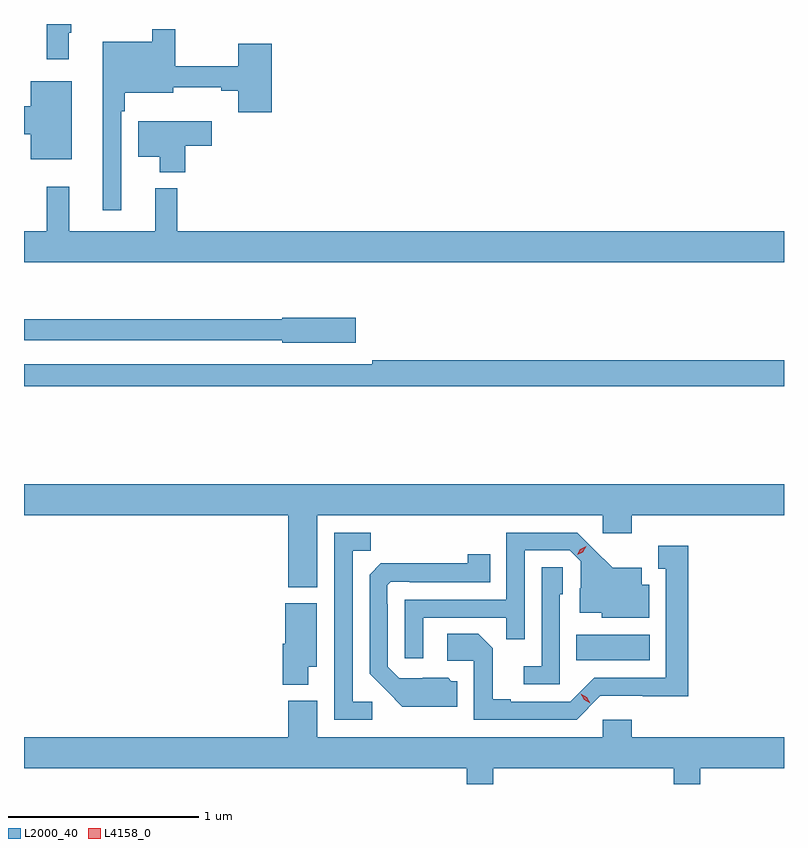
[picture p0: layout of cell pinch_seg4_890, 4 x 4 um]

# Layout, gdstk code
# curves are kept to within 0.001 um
import gdstk
lib = gdstk.Library(unit=1e-6, precision=1e-09)
def R(c, l, rs):  # rectangles x0, y0, x1, y1
    for r in rs: c.add(gdstk.rectangle(r[:2], r[2:], *l))
def P(c, l, *ps):  # polygons
    for p in ps: c.add(gdstk.Polygon(p, *l))
L2000_40 = (2000, 40)
L4158_0 = (4158, 0)

pinch_seg4_890 = lib.new_cell('pinch_seg4_890')
R(pinch_seg4_890, L2000_40, [(719.896,822.698,720.283,822.832)])
P(pinch_seg4_890, L2000_40, [(717.226,826.001),(717.238,826.001),(717.238,826.046),(717.109,826.046),(717.109,825.861),(717.226,825.861)],
  [(717.501,825.587),(717.521,825.587),(717.521,825.683),(717.775,825.683),(717.775,825.713),(718.028,825.713),(718.028,825.694),(718.117,825.694),(718.117,825.582),(718.295,825.582),(718.295,825.943),(718.117,825.943),(718.117,825.823),(717.787,825.823),(717.787,826.018),(717.666,826.018),(717.666,825.952),(717.404,825.952),(717.404,825.066),(717.501,825.066)],
  [(717.241,825.745),(717.026,825.745),(717.026,825.614),(716.99,825.614),(716.99,825.467),(717.026,825.467),(717.026,825.335),(717.241,825.335)],
  [(717.839,825.406),(717.979,825.406),(717.979,825.535),(717.59,825.535),(717.59,825.347),(717.704,825.347),(717.704,825.266),(717.839,825.266)],
  [(720.99,824.956),(717.797,824.956),(717.797,825.181),(717.68,825.181),(717.68,824.956),(717.227,824.956),(717.227,825.19),(717.109,825.19),(717.109,824.956),(716.99,824.956),(716.99,824.792),(720.99,824.792)],
  [(718.735,824.499),(718.35,824.499),(718.35,824.491),(716.99,824.491),(716.99,824.382),(718.35,824.382),(718.35,824.369),(718.735,824.369)],
  [(720.99,824.276),(718.822,824.276),(718.822,824.256),(716.99,824.256),(716.99,824.14),(720.99,824.14)],
  [(718.534,823.46),(720.036,823.46),(720.036,823.365),(720.188,823.365),(720.188,823.46),(720.99,823.46),(720.99,823.624),(716.99,823.624),(716.99,823.46),(718.382,823.46),(718.382,823.082),(718.534,823.082)],
  [(719.091,822.921),(719.527,822.921),(719.527,822.808),(719.625,822.808),(719.625,823.275),(719.862,823.275),(719.919,823.218),(719.919,823.076),(719.915,823.076),(719.915,822.947),(720.03,822.947),(720.03,822.92),(720.28,822.92),(720.28,823.096),(720.241,823.096),(720.241,823.183),(720.089,823.183),(719.902,823.368),(719.529,823.368),(719.529,823.017),(718.995,823.017),(718.995,822.708),(719.091,822.708)],
  [(718.822,822.48),(718.719,822.48),(718.719,823.273),(718.815,823.273),(718.815,823.368),(718.623,823.368),(718.623,822.384),(718.822,822.384)],
  [(720.024,822.51),(720.487,822.509),(720.487,823.3),(720.329,823.3),(720.329,823.179),(720.368,823.179),(720.368,822.606),(719.991,822.606),(719.865,822.48),(719.551,822.48),(719.551,822.493),(719.457,822.493),(719.457,822.76),(719.381,822.836),(719.217,822.836),(719.217,822.696),(719.358,822.696),(719.358,822.384),(719.898,822.384)],
  [(719.269,822.588),(719.238,822.588),(719.222,822.604),(718.965,822.603),(718.905,822.663),(718.905,822.992),(718.902,822.992),(718.902,823.092),(718.92,823.11),(719.02,823.11),(719.02,823.107),(719.444,823.107),(719.444,823.255),(719.326,823.255),(719.326,823.208),(718.868,823.207),(718.809,823.148),(718.809,822.626),(718.981,822.452),(719.269,822.452)],
  [(719.811,823.044),(719.826,823.044),(719.826,823.187),(719.715,823.187),(719.715,822.667),(719.619,822.667),(719.619,822.57),(719.811,822.57)],
  [(718.486,822.662),(718.531,822.662),(718.531,822.997),(718.364,822.997),(718.364,822.783),(718.352,822.783),(718.352,822.569),(718.486,822.569)],
  [(720.411,822.046),(720.55,822.046),(720.55,822.128),(720.99,822.128),(720.99,822.292),(720.188,822.292),(720.188,822.385),(720.036,822.385),(720.036,822.292),(718.534,822.292),(718.534,822.484),(718.382,822.484),(718.382,822.292),(716.99,822.292),(716.99,822.128),(719.321,822.128),(719.321,822.046),(719.461,822.046),(719.461,822.128),(720.411,822.128)])
P(pinch_seg4_890, L4158_0, [(719.97,822.47),(719.938,822.489),(719.92,822.522),(719.92,822.522),(719.92,822.522),(719.952,822.503),(719.97,822.47),(719.97,822.47)],
  [(719.901,823.253),(719.901,823.253),(719.918,823.282),(719.949,823.297),(719.95,823.297),(719.95,823.297),(719.932,823.267),(719.901,823.253)])

lib.write_gds('pinch_seg4_890.gds')
